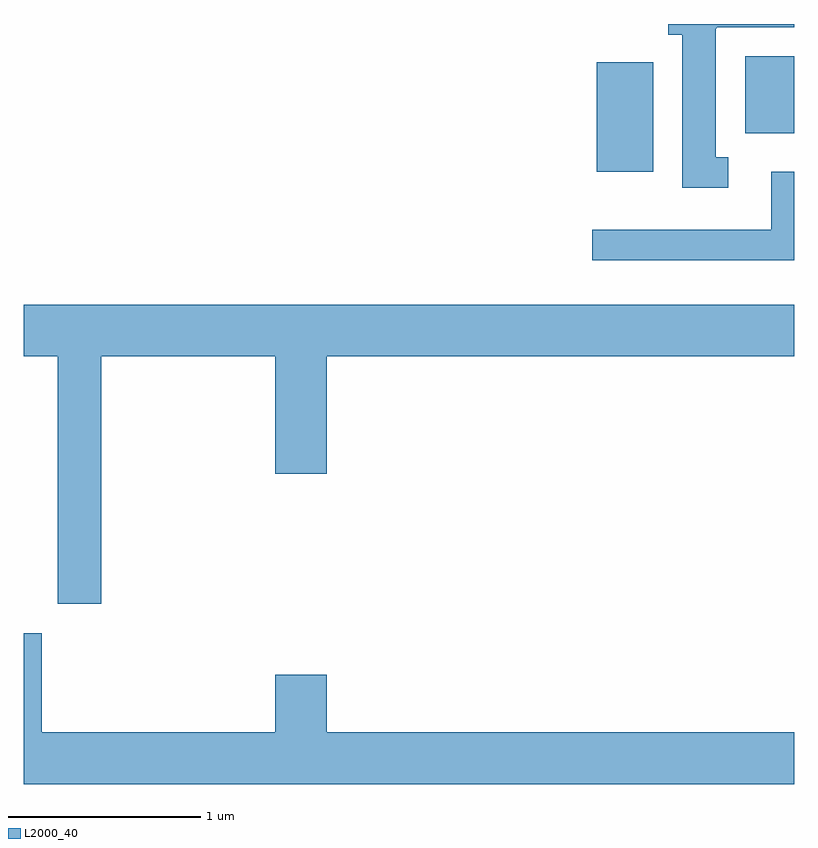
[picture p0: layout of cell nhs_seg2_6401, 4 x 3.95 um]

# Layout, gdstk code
import gdstk
lib = gdstk.Library(unit=1e-6, precision=1e-09)
def R(c, l, rs):  # rectangles x0, y0, x1, y1
    for r in rs: c.add(gdstk.rectangle(r[:2], r[2:], *l))
def P(c, l, *ps):  # polygons
    for p in ps: c.add(gdstk.Polygon(p, *l))
L2000_40 = (2000, 40)

nhs_seg2_6401 = lib.new_cell('nhs_seg2_6401')
R(nhs_seg2_6401, L2000_40, [(376.586,1067.036,376.879,1067.604), (377.356,1067.236,377.611,1067.634)])
P(nhs_seg2_6401, L2000_40, [(377.268,1067.109),(377.204,1067.109),(377.204,1067.78),(377.21,1067.78),(377.21,1067.786),(377.611,1067.786),(377.611,1067.802),(376.956,1067.802),(376.956,1067.746),(377.031,1067.746),(377.031,1066.951),(377.268,1066.951)],
  [(377.611,1067.034),(377.491,1067.034),(377.491,1066.734),(376.563,1066.734),(376.563,1066.576),(377.611,1066.576)],
  [(374.014,1066.076),(374.916,1066.076),(374.916,1065.466),(375.184,1065.466),(375.184,1066.076),(377.611,1066.076),(377.611,1066.344),(373.611,1066.344),(373.611,1066.076),(373.786,1066.076),(373.786,1064.791),(374.014,1064.791)],
  [(377.611,1064.124),(375.184,1064.124),(375.184,1064.424),(374.916,1064.424),(374.916,1064.124),(373.704,1064.124),(373.704,1064.639),(373.611,1064.639),(373.611,1063.856),(377.611,1063.856)])

lib.write_gds('nhs_seg2_6401.gds')
